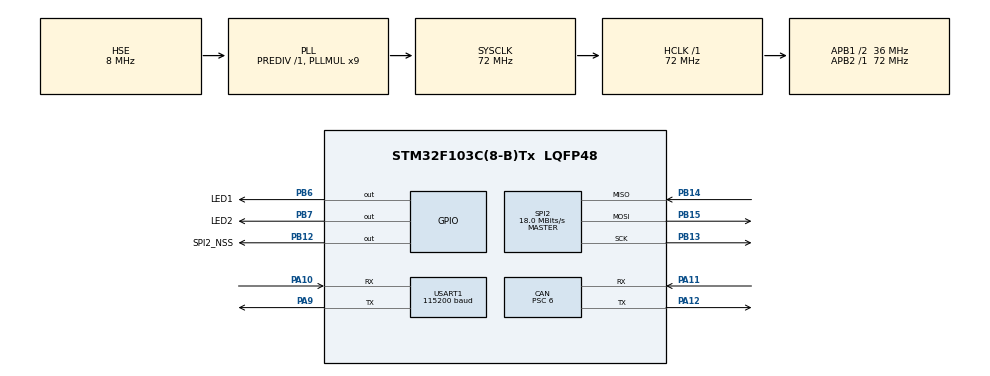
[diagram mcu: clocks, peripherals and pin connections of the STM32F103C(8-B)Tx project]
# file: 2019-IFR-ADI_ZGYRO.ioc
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CAN.ABOM=ENABLE
CAN.BS1=CAN_BS1_3TQ
CAN.BS2=CAN_BS2_2TQ
CAN.CalculateTimeBit=1000
CAN.CalculateTimeQuantum=166.66666666666669
CAN.Prescaler=6
CAN.TXFP=DISABLE
Mcu.Family=STM32F1
Mcu.Name=STM32F103C(8-B)Tx
Mcu.Package=LQFP48
NVIC.PriorityGroup=NVIC_PRIORITYGROUP_4
NVIC.SPI2_IRQn=true\:0\:0\:false\:false\:true\:true\:true
NVIC.TIM3_IRQn=true\:0\:0\:false\:false\:true\:true\:true
NVIC.USB_LP_CAN1_RX0_IRQn=true\:0\:0\:false\:false\:true\:true\:true
PA10.Mode=Asynchronous
PA10.Signal=USART1_RX
PA11.Mode=Master
PA11.Signal=CAN_RX
PA12.Mode=Master
PA12.Signal=CAN_TX
PA13.Mode=Serial_Wire
PA13.Signal=SYS_JTMS-SWDIO
PA14.Mode=Serial_Wire
PA14.Signal=SYS_JTCK-SWCLK
PA9.Mode=Asynchronous
PA9.Signal=USART1_TX
PB12.GPIO_Label=SPI2_NSS
PB12.Signal=GPIO_Output
PB13.Mode=Full_Duplex_Master
PB13.Signal=SPI2_SCK
PB14.Mode=Full_Duplex_Master
PB14.Signal=SPI2_MISO
PB15.Mode=Full_Duplex_Master
PB15.Signal=SPI2_MOSI
PB6.GPIO_Label=LED1
PB6.Signal=GPIO_Output
PB7.GPIO_Label=LED2
PB7.Signal=GPIO_Output
PD0-OSC_IN.Mode=HSE-External-Oscillator
PD0-OSC_IN.Signal=RCC_OSC_IN
PD1-OSC_OUT.Mode=HSE-External-Oscillator
PD1-OSC_OUT.Signal=RCC_OSC_OUT
ProjectManager.HeapSize=0x200
ProjectManager.StackSize=0x400
ProjectManager.TargetToolchain=MDK-ARM V5
RCC.AHBFreq_Value=72000000
RCC.APB1CLKDivider=RCC_HCLK_DIV2
RCC.APB1Freq_Value=36000000
RCC.APB1TimFreq_Value=72000000
RCC.APB2Freq_Value=72000000
RCC.APB2TimFreq_Value=72000000
RCC.HCLKFreq_Value=72000000
RCC.PLLMUL=RCC_PLL_MUL9
RCC.PLLSourceVirtual=RCC_PLLSOURCE_HSE
RCC.SYSCLKFreq_VALUE=72000000
RCC.SYSCLKSource=RCC_SYSCLKSOURCE_PLLCLK
RCC.USBFreq_Value=72000000
SPI2.CalculateBaudRate=18.0 MBits/s
SPI2.Direction=SPI_DIRECTION_2LINES
SPI2.Mode=SPI_MODE_MASTER
SPI2.VirtualType=VM_MASTER
TIM3.Period=10-1
TIM3.Prescaler=72-1
USART1.BaudRate=115200
USART1.VirtualMode=VM_ASYNC
VP_TIM3_VS_ClockSourceINT.Mode=Internal
board=custom

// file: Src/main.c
/* USER CODE BEGIN Header */
/**
  ******************************************************************************
  * @file           : main.c
  * @brief          : Main program body
  ******************************************************************************
  * @attention
  *
  * <h2><center>&copy; Copyright (c) 2019 STMicroelectronics.
  * All rights reserved.</center></h2>
  *
  * This software component is licensed by ST under BSD 3-Clause license,
  * the "License"; You may not use this file except in compliance with the
  * License. You may obtain a copy of the License at:
  *                        opensource.org/licenses/BSD-3-Clause
  *
  ******************************************************************************
  */
/* USER CODE END Header */

#include "main.h"
#include "can.h"
#include "spi.h"
#include "tim.h"
#include "usart.h"
#include "gpio.h"

/* USER CODE BEGIN Includes */
#include "adi_analysis.h"
#include "can_analysis.h"
/* USER CODE END Includes */

void SystemClock_Config(void);

/* USER CODE BEGIN 0 */
extern uint16_t ADI_Rawdata;
extern uint32_t time_10us_count;
extern ADI_DataTypeDef ADI_Data;
int angle_100=0;
uint32_t time_start=0;
uint32_t time_end=0;
uint32_t time_diff=0;
HAL_StatusTypeDef can_sendstate;
HAL_StatusTypeDef can_initstate1;
HAL_StatusTypeDef can_initstate2;
/* USER CODE END 0 */

int main(void)
{

  /* MCU Configuration--------------------------------------------------------*/

  /* Reset of all peripherals, Initializes the Flash interface and the Systick. */
  HAL_Init();

  /* Configure the system clock */
  SystemClock_Config();

  /* Initialize all configured peripherals */
  MX_GPIO_Init();
  MX_SPI2_Init();
  MX_TIM3_Init();
  MX_USART1_UART_Init();
  MX_CAN_Init();
  /* USER CODE BEGIN 2 */
  can_initstate2=HAL_TIM_Base_Start_IT(&htim3);
  can_initstate1=CAN_Filter_Config();

  //can_initstate2=HAL_CAN_Start(&hcan);
//HAL_SPI_Receive_IT(&hspi2, rxbuf, 1);
  /* USER CODE END 2 */

  /* Infinite loop */
  /* USER CODE BEGIN WHILE */
  while (1)
  {
	  time_start=time_10us_count;
//	  ADI_Rawdata=read_ADI();
//	  ADI_DataDeal_Task(ADI_Rawdata);
	  angle_100=(int)(ADI_Data.Zangle*100);
	  time_diff=time_10us_count-time_start;
////	  if(time_10us_count%1000)
////	  {
////		  //can_sendstate=CAN_TRANSMIT();
////		  uint8_t data[8]={0,1,2,3,4,5,6,7};
////		  can_sendstate=CANx_SendNormalData(&hcan,0x201,data);
////	  }
    /* USER CODE END WHILE */

  }
}

void SystemClock_Config(void)
{
  RCC_OscInitTypeDef RCC_OscInitStruct = {0};
  RCC_ClkInitTypeDef RCC_ClkInitStruct = {0};

  /** Initializes the CPU, AHB and APB busses clocks
  */
  RCC_OscInitStruct.OscillatorType = RCC_OSCILLATORTYPE_HSE;
  RCC_OscInitStruct.HSEState = RCC_HSE_ON;
  RCC_OscInitStruct.HSEPredivValue = RCC_HSE_PREDIV_DIV1;
  RCC_OscInitStruct.HSIState = RCC_HSI_ON;
  RCC_OscInitStruct.PLL.PLLState = RCC_PLL_ON;
  RCC_OscInitStruct.PLL.PLLSource = RCC_PLLSOURCE_HSE;
  RCC_OscInitStruct.PLL.PLLMUL = RCC_PLL_MUL9;
  if (HAL_RCC_OscConfig(&RCC_OscInitStruct) != HAL_OK)
  {
    Error_Handler();
  }
  /** Initializes the CPU, AHB and APB busses clocks
  */
  RCC_ClkInitStruct.ClockType = RCC_CLOCKTYPE_HCLK|RCC_CLOCKTYPE_SYSCLK
                              |RCC_CLOCKTYPE_PCLK1|RCC_CLOCKTYPE_PCLK2;
  RCC_ClkInitStruct.SYSCLKSource = RCC_SYSCLKSOURCE_PLLCLK;
  RCC_ClkInitStruct.AHBCLKDivider = RCC_SYSCLK_DIV1;
  RCC_ClkInitStruct.APB1CLKDivider = RCC_HCLK_DIV2;
  RCC_ClkInitStruct.APB2CLKDivider = RCC_HCLK_DIV1;

  if (HAL_RCC_ClockConfig(&RCC_ClkInitStruct, FLASH_LATENCY_2) != HAL_OK)
  {
    Error_Handler();
  }
}

void Error_Handler(void)
{
}

/************************ (C) COPYRIGHT STMicroelectronics *****END OF FILE****/
